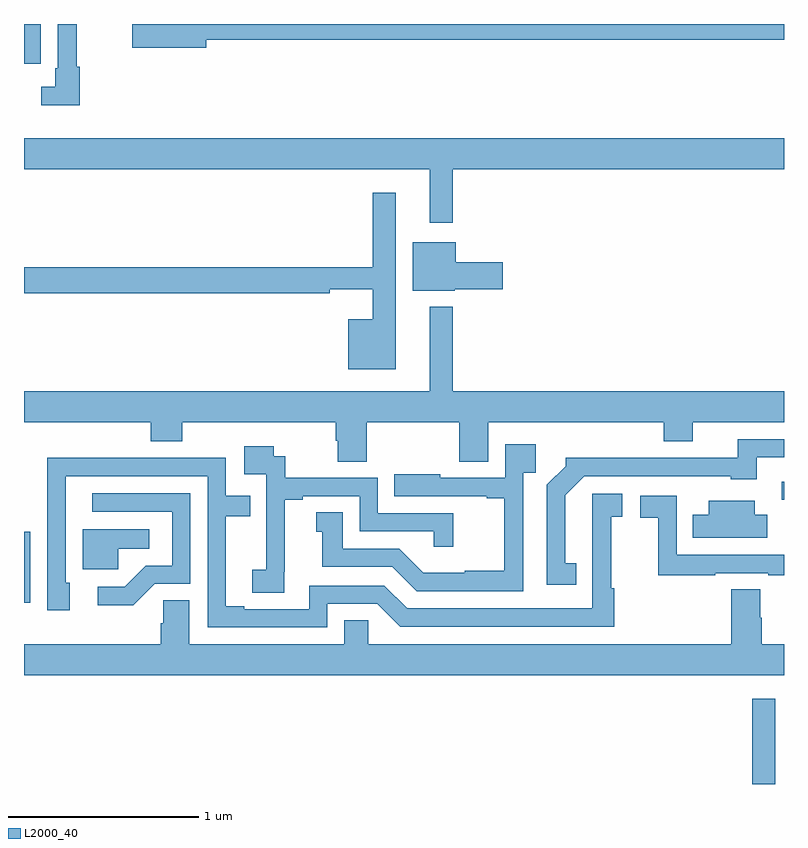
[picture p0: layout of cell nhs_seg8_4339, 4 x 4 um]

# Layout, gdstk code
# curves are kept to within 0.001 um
import gdstk
lib = gdstk.Library(unit=1e-6, precision=1e-09)
def R(c, l, rs):  # rectangles x0, y0, x1, y1
    for r in rs: c.add(gdstk.rectangle(r[:2], r[2:], *l))
def P(c, l, *ps):  # polygons
    for p in ps: c.add(gdstk.Polygon(p, *l))
L2000_40 = (2000, 40)

nhs_seg8_4339 = lib.new_cell('nhs_seg8_4339')
R(nhs_seg8_4339, L2000_40, [(378.834,1143.9,378.955,1144.348), (375,1144.854,375.033,1145.227), (378.989,1145.397,379,1145.491), (375,1147.692,375.088,1147.9)])
P(nhs_seg8_4339, L2000_40, [(375.958,1147.816),(379,1147.816),(379,1147.9),(375.57,1147.9),(375.57,1147.774),(375.958,1147.774)],
  [(375.293,1147.676),(375.278,1147.676),(375.278,1147.9),(375.177,1147.9),(375.177,1147.666),(375.165,1147.666),(375.165,1147.569),(375.09,1147.569),(375.09,1147.472),(375.293,1147.472)],
  [(377.257,1147.136),(379,1147.136),(379,1147.3),(375,1147.3),(375,1147.136),(377.135,1147.136),(377.135,1146.855),(377.257,1146.855)],
  [(376.957,1147.012),(376.836,1147.012),(376.836,1146.62),(375,1146.62),(375,1146.484),(376.61,1146.484),(376.61,1146.503),(376.836,1146.503),(376.836,1146.346),(376.706,1146.346),(376.706,1146.083),(376.957,1146.083)],
  [(377.268,1146.503),(377.521,1146.503),(377.521,1146.645),(377.272,1146.645),(377.272,1146.751),(377.045,1146.751),(377.045,1146.497),(377.268,1146.497)],
  [(375,1145.804),(375.668,1145.804),(375.668,1145.705),(375.833,1145.705),(375.833,1145.804),(376.64,1145.804),(376.64,1145.706),(376.652,1145.706),(376.652,1145.596),(376.805,1145.596),(376.805,1145.804),(377.291,1145.804),(377.291,1145.596),(377.443,1145.596),(377.443,1145.804),(378.368,1145.804),(378.368,1145.705),(378.52,1145.705),(378.52,1145.804),(379,1145.804),(379,1145.968),(377.257,1145.968),(377.257,1146.412),(377.135,1146.412),(377.135,1145.968),(375,1145.968)],
  [(377.906,1145.063),(377.848,1145.063),(377.848,1145.419),(377.949,1145.52),(378.72,1145.52),(378.72,1145.504),(378.856,1145.504),(378.856,1145.619),(379,1145.619),(379,1145.715),(378.757,1145.715),(378.757,1145.616),(378.284,1145.616),(378.284,1145.618),(377.85,1145.618),(377.85,1145.573),(377.751,1145.474),(377.751,1144.95),(377.906,1144.95)],
  [(377.628,1145.537),(377.693,1145.537),(377.693,1145.689),(377.532,1145.689),(377.532,1145.511),(377.191,1145.511),(377.191,1145.53),(376.948,1145.53),(376.948,1145.415),(377.435,1145.415),(377.435,1145.403),(377.527,1145.403),(377.527,1145.023),(377.321,1145.023),(377.321,1145.011),(377.102,1145.011),(376.974,1145.139),(376.678,1145.139),(376.678,1145.33),(376.538,1145.33),(376.538,1145.227),(376.571,1145.227),(376.571,1145.043),(376.938,1145.043),(377.067,1144.914),(377.628,1144.914)],
  [(376.37,1145.017),(376.372,1145.017),(376.372,1145.395),(376.468,1145.395),(376.468,1145.415),(376.767,1145.415),(376.767,1145.229),(377.157,1145.229),(377.157,1145.148),(377.258,1145.148),(377.258,1145.325),(376.863,1145.325),(376.863,1145.511),(376.376,1145.511),(376.376,1145.625),(376.314,1145.625),(376.314,1145.677),(376.158,1145.677),(376.158,1145.529),(376.275,1145.529),(376.275,1145.225),(376.274,1145.225),(376.274,1145.028),(376.2,1145.028),(376.2,1144.906),(376.37,1144.906)],
  [(376.596,1144.848),(376.86,1144.848),(376.98,1144.728),(378.107,1144.728),(378.107,1144.931),(378.09,1144.931),(378.09,1145.307),(378.148,1145.307),(378.148,1145.428),(377.99,1145.428),(377.991,1144.824),(377.016,1144.824),(376.896,1144.944),(376.5,1144.944),(376.5,1144.821),(376.159,1144.821),(376.159,1144.836),(376.063,1144.836),(376.063,1145.31),(376.19,1145.31),(376.19,1145.418),(376.062,1145.418),(376.062,1145.616),(375.584,1145.616),(375.584,1145.618),(375.122,1145.618),(375.123,1144.815),(375.241,1144.815),(375.241,1144.959),(375.219,1144.959),(375.219,1145.52),(375.966,1145.52),(375.966,1144.725),(376.596,1144.725)],
  [(375.687,1144.953),(375.876,1144.953),(375.876,1145.43),(375.36,1145.43),(375.36,1145.334),(375.78,1145.334),(375.78,1145.049),(375.642,1145.049),(375.531,1144.938),(375.387,1144.938),(375.387,1144.841),(375.574,1144.841)],
  [(378.638,1145.01),(378.917,1145.01),(378.917,1144.998),(379,1144.998),(379,1145.106),(378.435,1145.106),(378.435,1145.418),(378.243,1145.418),(378.243,1145.302),(378.337,1145.302),(378.337,1144.998),(378.638,1144.998)],
  [(378.913,1145.317),(378.847,1145.317),(378.847,1145.392),(378.605,1145.392),(378.605,1145.317),(378.52,1145.317),(378.52,1145.195),(378.913,1145.195)],
  [(375.495,1145.138),(375.658,1145.138),(375.658,1145.242),(375.308,1145.242),(375.308,1145.031),(375.495,1145.031)],
  [(379,1144.636),(378.882,1144.636),(378.882,1144.775),(378.874,1144.775),(378.874,1144.925),(378.722,1144.925),(378.722,1144.636),(376.812,1144.636),(376.812,1144.763),(376.685,1144.763),(376.685,1144.636),(375.871,1144.636),(375.871,1144.868),(375.732,1144.868),(375.732,1144.745),(375.719,1144.745),(375.719,1144.636),(375,1144.636),(375,1144.472),(379,1144.472)])

lib.write_gds('nhs_seg8_4339.gds')
